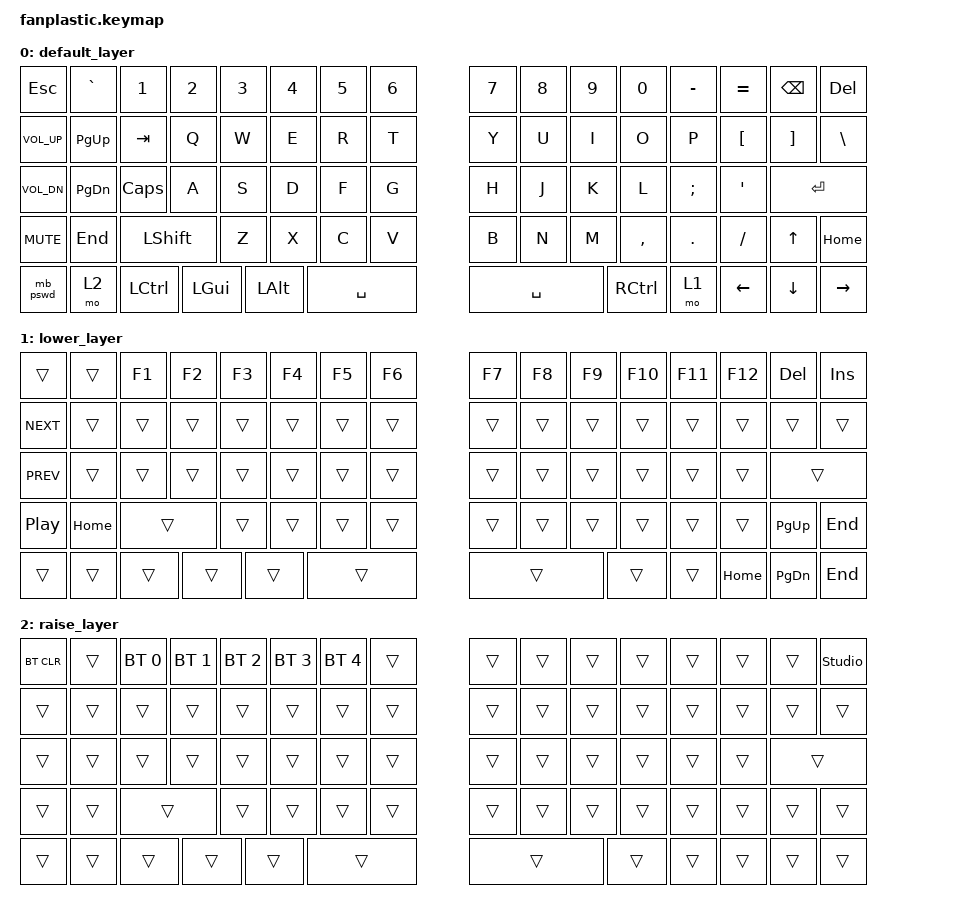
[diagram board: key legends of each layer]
/*
 * Copyright (c) 2020 The ZMK Contributors
 *
 * SPDX-License-Identifier: MIT
 */

#include <behaviors.dtsi>
#include <dt-bindings/zmk/keys.h>
#include <dt-bindings/zmk/bt.h>
/ {
    macros {
        mb_pswd: mb_pswd {
            compatible = "zmk,behavior-macro";
            #binding-cells = <0>;
            bindings
                = <&macro_press &kp LSHFT>
                , <&macro_tap &kp N1 &kp Q>
                , <&macro_release &kp LSHFT>
                , <&macro_tap &kp N2 &kp W>
                , <&macro_press &kp LSHFT>
                , <&macro_tap &kp N3 &kp E>
                , <&macro_release &kp LSHFT>
                , <&macro_tap &kp N4 &kp R>
                , <&macro_press &kp LSHFT>
                , <&macro_tap &kp M &kp B>
                , <&macro_release &kp LSHFT>
                , <&macro_tap &kp N1>
                ;
        };
    };
};

/ {
    keymap {
        compatible = "zmk,keymap";
            default_layer {
// ---------------------------------------------------------------------------------------------------------------------------------------------------------------------------------------------------------
// |    esc    |     `     |     1     |     2     |     3     |     4     |     5     |     6     |       |     7     |     8     |     9     |     0     |     -     |     =     |    bsp    |    del    |
// |    V+     |    PU     |    TAB    |     q     |     w     |     e     |     r     |     t     |       |     y     |     u     |     i     |     o     |     p     |     [     |     ]     |     \     |
// |    V-     |    PD     |    CAP    |     a     |     s     |     d     |     f     |     g     |       |     h     |     j     |     k     |     l     |     ;     |     '     |    RET    |           |
// |    Mut    |    END    |    LSH    |           |     z     |     x     |     c     |     v     |       |     b     |     n     |     m     |     ,     |     .     |     /     |    UP     |    HM     |
// |    PWD    |    MOD    |    CTL    |    WIN    |           |    ALT    |    LSP    |           |       |           |    RSP    |           |    CTL    |    MOD    |    LFT    |    DWN    |    RGT    |
                bindings = <
    &kp ESC     &kp  GRAVE  &kp N1       &kp N2      &kp N3      &kp N4      &kp N5      &kp N6              &kp N7      &kp N8      &kp N9      &kp N0      &kp MINUS   &kp EQUAL   &kp BSPC    &kp DEL
    &kp C_VOL_UP &kp PG_UP  &kp TAB     &kp Q       &kp W       &kp E       &kp R       &kp T               &kp Y       &kp U       &kp I       &kp O       &kp P       &kp LBKT    &kp RBKT    &kp BSLH
    &kp C_VOL_DN &kp PG_DN  &kp CAPS    &kp A       &kp S       &kp D       &kp F       &kp G               &kp H       &kp J       &kp K       &kp L       &kp SEMI    &kp APOS    &kp RET
    &kp C_MUTE  &kp END     &kp LSHFT               &kp Z       &kp X       &kp C       &kp V               &kp B       &kp N       &kp M       &kp COMMA   &kp DOT     &kp SLASH   &kp UP      &kp HOME
    &mb_pswd    &mo 2       &kp LCTRL   &kp LGUI                &kp LALT    &kp SPACE                                   &kp SPACE               &kp RCTRL   &mo 1       &kp LEFT    &kp DOWN    &kp RIGHT
                >;
            };
            lower_layer {
// ---------------------------------------------------------------------------------------------------------------------------------------------------------------------------------------------------------
// |           |           |    F1     |    F2     |    F3     |    F4     |    F5     |    F6     |       |    F7     |    F8     |    F9     |    F10    |    F11    |    F12    |    DEL    |    INS    |
// |    FF     |           |           |           |           |           |           |           |       |           |           |           |           |           |           |           |           |
// |    RW     |           |           |           |           |           |           |           |       |           |           |           |           |           |           |           |           |
// |    P/P    |    HM     |           |           |           |           |           |           |       |           |           |           |           |           |           |    PU     |    END    |
// |           |           |           |           |           |           |           |           |       |           |           |           |           |           |    HM     |    PD     |    END    |
                bindings = <
    &trans      &trans      &kp F1      &kp F2      &kp F3      &kp F4      &kp F5      &kp F6              &kp F7      &kp F8     &kp F9      &kp F10      &kp F11     &kp F12     &kp DEL     &kp INS
    &kp C_NEXT  &trans      &trans      &trans      &trans      &trans      &trans      &trans              &trans      &trans      &trans      &trans      &trans      &trans      &trans      &trans
    &kp C_PREV  &trans      &trans      &trans      &trans      &trans      &trans      &trans              &trans      &trans      &trans      &trans      &trans      &trans      &trans            
    &kp C_PP    &kp HOME    &trans                  &trans      &trans      &trans      &trans              &trans      &trans      &trans      &trans      &trans      &trans      &kp PG_UP   &kp END
    &trans      &trans      &trans      &trans                  &trans      &trans                                      &trans                  &trans      &trans      &kp HOME    &kp PG_DN   &kp END
                >;
            };

            raise_layer {
// ---------------------------------------------------------------------------------------------------------------------------------------------------------------------------------------------------------
// |   BTCLR   |           |    BT0    |    BT1    |    BT2    |    BT3    |    BT4    |           |       |           |           |           |           |           |           |           |           |
// |           |           |           |           |           |           |           |           |       |           |           |           |           |           |           |           |           |
// |           |           |           |           |           |           |           |           |       |           |           |           |           |           |           |           |           |
// |           |           |           |           |           |           |           |           |       |           |           |           |           |           |           |           |           |
// |           |           |           |           |           |           |           |           |       |           |           |           |           |           |           |           |           |
            bindings = <
    &bt BT_CLR  &trans     &bt BT_SEL 0 &bt BT_SEL 1 &bt BT_SEL 2 &bt BT_SEL 3 &bt BT_SEL 4 &trans          &trans      &trans      &trans      &trans      &trans      &trans      &trans      &studio_unlock
    &trans      &trans      &trans      &trans      &trans      &trans      &trans      &trans              &trans      &trans      &trans      &trans      &trans      &trans      &trans      &trans      
    &trans      &trans      &trans      &trans      &trans      &trans      &trans      &trans              &trans      &trans      &trans      &trans      &trans      &trans      &trans                  
    &trans      &trans      &trans                  &trans      &trans      &trans      &trans              &trans      &trans      &trans      &trans      &trans      &trans      &trans      &trans      
    &trans      &trans      &trans      &trans                  &trans      &trans                                      &trans                  &trans      &trans      &trans      &trans      &trans      
            >;
        };
    };
};
